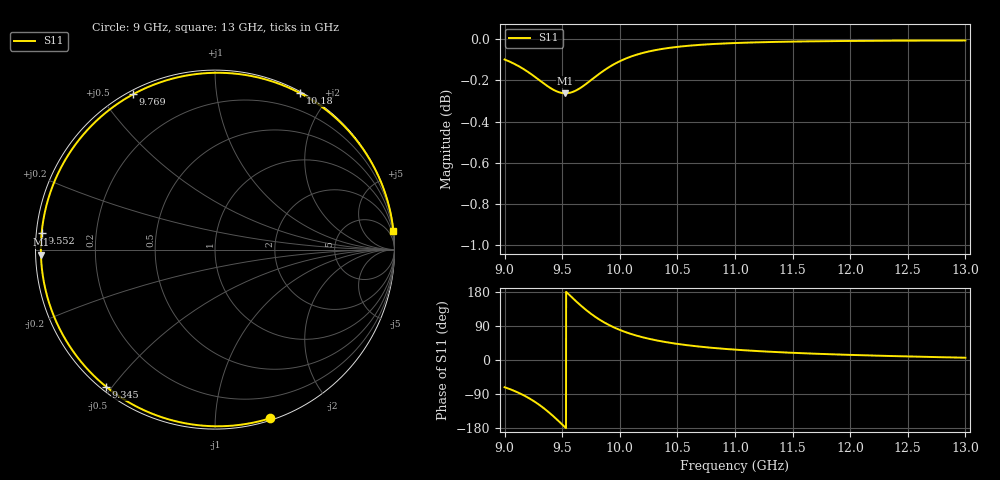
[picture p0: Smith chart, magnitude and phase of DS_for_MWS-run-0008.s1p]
! TOUCHSTONE file generated by CST DESIGN STUDIO
! Date and time: Tue Feb  4 13:40:10 2025
! Project name: C:\Work\MatlabApps\UnitCellOptimizationMatlab\CST\unitcell.cst
! Tree item: Tasks\Sweep1\SPara1\S-Parameters
! Header version: 2024
! Port assignment regex: !\s*Touchstone port\s*([0-9]+)\s*=\s*(CST MWS port|CST DES external port|CST DES block port)\s*(.+)\s* \(\"(.*)\"\)(\s*mode\s*([0-9]+))?.*
! Touchstone port assignment:
! Touchstone port 1 = CST DES external port 1 ("")
# GHz S MA R 50
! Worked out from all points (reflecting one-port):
!   4001 points, 9 GHz to 13 GHz, reference 50 ohm
!   lowest |S11| = -0.3 dB at 9.528 GHz (marker M1), VSWR 66.20, Z = 0.755 - j0.722 ohm
!   phase of S11 starts at -72 deg and turns -282 deg over the sweep
!   S11 on the Smith chart (normalised r, x): 9 GHz: 0.02, -1.38; 9.345 GHz: 0.02, -0.48; 9.552 GHz: 0.02, +0.05; 9.769 GHz: 0.01, +0.60; 10.18 GHz: 0.02, +1.68; 13 GHz: 0, +19
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9  0.9888 -71.8
9.096  0.986 -83.1
9.203  0.9819 -99.3
9.277  0.9786 -113.3
9.345  0.9754 -128.4
9.418  0.9723 -147.0
9.461  0.9711 -158.9
9.5  0.9704 -170.2
9.528  0.9702 -178.3
9.552  0.9703 174.6
9.606  0.9713 159.0
9.667  0.9735 142.3
9.718  0.9758 129.4
9.769  0.9783 117.7
9.818  0.9807 107.7
9.871  0.9831 98.1
9.93  0.9854 88.8
10  0.9878 79.4
10.085  0.9901 69.9
10.178  0.992 61.6
10.325  0.9942 51.4
10.5  0.9958 42.5
10.721  0.997 34.5
11  0.9979 27.3
11.5  0.9987 19.0
12  0.9991 13.5
12.5  0.9993 9.4
13  0.9993 6.1
